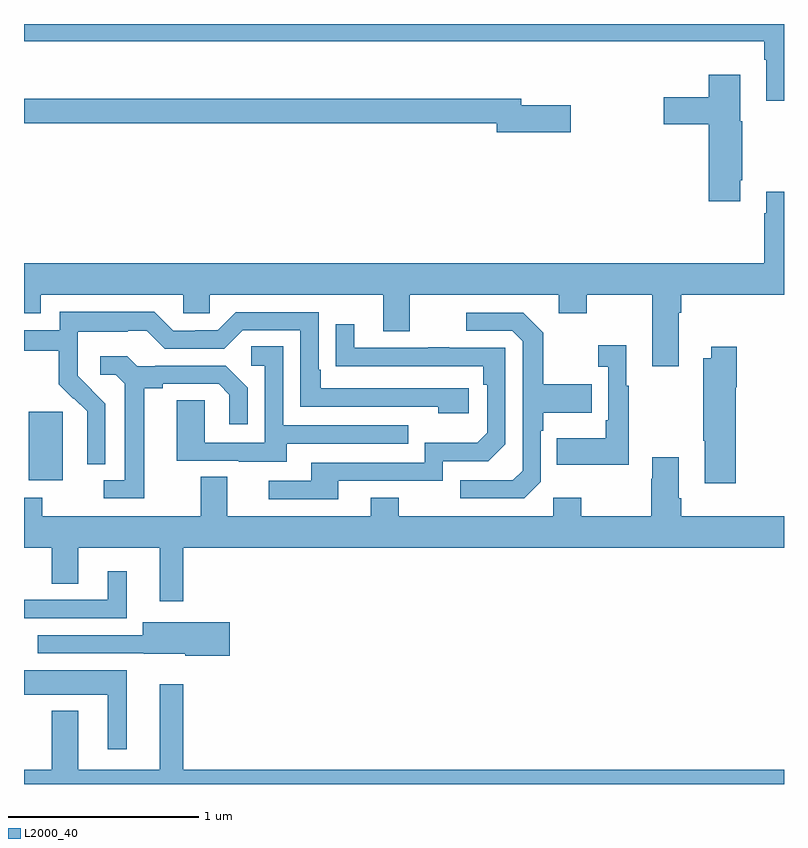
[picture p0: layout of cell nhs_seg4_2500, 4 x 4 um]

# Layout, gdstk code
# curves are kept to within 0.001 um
import gdstk
lib = gdstk.Library(unit=1e-6, precision=1e-09)
def R(c, l, rs):  # rectangles x0, y0, x1, y1
    for r in rs: c.add(gdstk.rectangle(r[:2], r[2:], *l))
def P(c, l, *ps):  # polygons
    for p in ps: c.add(gdstk.Polygon(p, *l))
L2000_40 = (2000, 40)

nhs_seg4_2500 = lib.new_cell('nhs_seg4_2500')
R(nhs_seg4_2500, L2000_40, [(241.025,806.498,241.204,806.859)])
P(nhs_seg4_2500, L2000_40, [(245,808.9),(241,808.9),(241,808.808),(244.895,808.808),(244.895,808.712),(244.907,808.712),(244.907,808.497),(245,808.497)],
  [(244.771,808.078),(244.779,808.078),(244.779,808.389),(244.771,808.389),(244.771,808.633),(244.604,808.633),(244.604,808.515),(244.368,808.515),(244.368,808.373),(244.604,808.373),(244.604,807.966),(244.771,807.966)],
  [(243.877,808.473),(243.616,808.473),(243.616,808.507),(241,808.507),(241,808.378),(243.488,808.378),(243.488,808.331),(243.877,808.331)],
  [(244.447,807.38),(244.46,807.38),(244.46,807.476),(245,807.476),(245,808.018),(244.907,808.018),(244.907,807.905),(244.895,807.905),(244.895,807.64),(241,807.64),(241,807.377),(241.087,807.377),(241.087,807.476),(241.839,807.476),(241.839,807.378),(241.977,807.378),(241.977,807.476),(242.891,807.476),(242.891,807.282),(243.031,807.282),(243.031,807.476),(243.815,807.476),(243.815,807.377),(243.963,807.377),(243.963,807.476),(244.307,807.476),(244.307,807.099),(244.447,807.099)],
  [(241.428,806.902),(241.282,807.05),(241.282,807.147),(241.284,807.147),(241.284,807.281),(241.547,807.281),(241.547,807.285),(241.647,807.285),(241.74,807.192),(242.055,807.192),(242.151,807.288),(242.454,807.288),(242.454,806.886),(243.179,806.886),(243.179,806.852),(243.34,806.852),(243.34,806.982),(242.563,806.982),(242.563,807.079),(242.55,807.079),(242.55,807.384),(242.115,807.384),(242.019,807.288),(241.901,807.288),(241.901,807.285),(241.785,807.285),(241.685,807.385),(241.188,807.385),(241.188,807.288),(241,807.288),(241,807.18),(241.183,807.18),(241.183,807.005),(241.26,806.928),(241.263,806.931),(241.334,806.861),(241.334,806.738),(241.332,806.738),(241.332,806.584),(241.428,806.584)],
  [(243.72,806.49),(243.72,806.759),(243.733,806.759),(243.733,806.855),(243.989,806.855),(243.989,807.003),(243.733,807.003),(243.733,807.275),(243.627,807.381),(243.327,807.381),(243.327,807.285),(243.57,807.285),(243.624,807.231),(243.624,806.55),(243.573,806.499),(243.297,806.499),(243.297,806.403),(243.633,806.403)],
  [(242.653,806.496),(243.204,806.496),(243.204,806.598),(243.444,806.598),(243.534,806.688),(243.534,807.195),(243.239,807.195),(243.239,807.2),(243.127,807.2),(243.127,807.195),(242.737,807.195),(242.737,807.319),(242.641,807.319),(242.641,807.1),(243.418,807.099),(243.418,807.002),(243.438,807.002),(243.438,806.748),(243.385,806.695),(243.108,806.695),(243.108,806.592),(242.513,806.592),(242.513,806.496),(242.289,806.496),(242.289,806.4),(242.653,806.4)],
  [(244.183,806.995),(244.171,806.995),(244.171,807.208),(244.023,807.208),(244.023,807.095),(244.074,807.095),(244.074,806.815),(244.062,806.815),(244.062,806.719),(243.805,806.719),(243.805,806.579),(244.183,806.579)],
  [(242.383,806.691),(243.023,806.691),(243.023,806.787),(242.364,806.787),(242.364,807.203),(242.196,807.203),(242.196,807.102),(242.268,807.102),(242.268,806.697),(241.95,806.697),(241.95,806.921),(241.805,806.921),(241.805,806.601),(242.129,806.601),(242.129,806.597),(242.383,806.597)],
  [(244.746,806.989),(244.751,806.989),(244.751,807.202),(244.616,807.202),(244.616,807.142),(244.576,807.142),(244.576,806.707),(244.583,806.707),(244.583,806.484),(244.746,806.484)],
  [(241.633,806.984),(241.729,806.984),(241.729,807.006),(242.024,807.006),(242.081,806.949),(242.081,806.793),(242.178,806.793),(242.178,806.986),(242.062,807.102),(241.69,807.102),(241.69,807.099),(241.596,807.099),(241.544,807.151),(241.401,807.151),(241.401,807.054),(241.482,807.054),(241.529,807.007),(241.529,806.499),(241.419,806.499),(241.419,806.403),(241.633,806.403)],
  [(241.837,806.144),(245,806.144),(245,806.308),(244.46,806.308),(244.46,806.404),(244.447,806.404),(244.447,806.62),(244.307,806.62),(244.307,806.507),(244.3,806.507),(244.3,806.308),(243.933,806.308),(243.933,806.407),(243.786,806.407),(243.786,806.308),(242.973,806.308),(242.973,806.407),(242.825,806.407),(242.825,806.308),(242.071,806.308),(242.071,806.516),(241.931,806.516),(241.931,806.308),(241.095,806.308),(241.095,806.407),(241,806.407),(241,806.144),(241.145,806.144),(241.145,805.954),(241.285,805.954),(241.285,806.144),(241.715,806.144),(241.715,805.863),(241.837,805.863)],
  [(241.54,806.02),(241.442,806.02),(241.442,805.869),(241,805.869),(241,805.773),(241.54,805.773)],
  [(242.083,805.752),(241.625,805.752),(241.625,805.683),(241.073,805.683),(241.073,805.587),(241.629,805.587),(241.629,805.586),(241.848,805.586),(241.848,805.574),(242.083,805.574)],
  [(241.54,805.498),(241,805.498),(241,805.37),(241.442,805.37),(241.442,805.083),(241.54,805.083)],
  [(245,804.976),(241.837,804.976),(241.837,805.426),(241.715,805.426),(241.715,804.976),(241.285,804.976),(241.285,805.285),(241.145,805.285),(241.145,804.976),(241,804.976),(241,804.9),(245,804.9)])

lib.write_gds('nhs_seg4_2500.gds')
